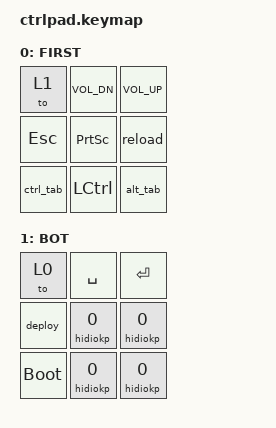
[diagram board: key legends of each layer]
/*
 * Copyright (c) 2020 The ZMK Contributors
 *
 * SPDX-License-Identifier: MIT
 */

#include <behaviors.dtsi>
#include <dt-bindings/zmk/keys.h>
#include <dt-bindings/zmk/bt.h>

#define DEF 0
#define HID_IO_USAGE_FEW_TO_JOYSTICK 1

/ {
    zip_fwd_to_hid_io: zip_forward_fwd_to_hid_io {
        compatible = "zmk,input-processor-fwd-to-hid-io";
        #input-processor-cells = <0>;
        usage =<HID_IO_USAGE_FEW_TO_JOYSTICK>;
    };

    hidiokp: hid_io_key_press{
        compatible = "zmk,behavior-hid-io-key-press";
        #binding-cells= <1>;
    };
    hidiokp_ibl {
        compatible = "zmk,input-behavior-listener";
        input-processors = <&zip_fwd_to_hid_io>;
    };

    macros {
        alt_tab: alt_tab {
            compatible = "zmk,behavior-macro";
            #binding-cells = <0>; 
            bindings = <&macro_press &kp LALT>
                    , <&macro_tap &kp TAB>
                    , <&macro_release &kp LALT>
                    ; 
        };

        ctrl_tab: ctrl_tab {
            compatible = "zmk,behavior-macro";
            #binding-cells = <0>; 
            bindings = <&macro_press &kp LCTRL>
                    , <&macro_tap &kp TAB>
                    , <&macro_release &kp LCTRL>
                    ;
        };

        deploy: deploy {
            compatible = "zmk,behavior-macro";
            #binding-cells = <0>; 
            bindings = <&macro_press &kp LSHIFT>
                    , <&macro_tap &kp F5>
                    , <&macro_release &kp LSHIFT>
                    ;
        };

        reload: reload {
            compatible = "zmk,behavior-macro";
            #binding-cells = <0>; 
            bindings = <&macro_press &kp LCTRL>
                    , <&macro_tap &kp R>
                    , <&macro_release &kp LCTRL>
                    ;
        };
    };

    keymap {
        compatible = "zmk,keymap";

        first {
            display-name = "FIRST";
// -------------------
// |    1L   |  VOL_UP | VOL_DOWN |
// |   ESC   |SCREENCUT|  RELOAD  |
// | CTRL_TAB|  LCTRL  |  ALT_TAB |
// ----------------------
            bindings = <
                &to 1       &kp C_VOL_DN &kp C_VOL_UP
                &kp ESC     &kp PSCRN    &reload 
                &ctrl_tab   &kp LCTRL    &alt_tab
            >;
        };

        bot {
            display-name = "BOT";
// -----------------------
// |  0L     |  SPACE  |  ENTER  |
// | DEPLOY  |  PS1    |  PS2    |
// |  PS3    |  PS4    |  PS5    |
// -----------------------
            bindings = <
                &to 0       &kp SPACE   &kp ENTER
                &deploy     &hidiokp 0  &hidiokp 0
                &bootloader  &hidiokp 0  &hidiokp 0
            >;
        };
    };
};

